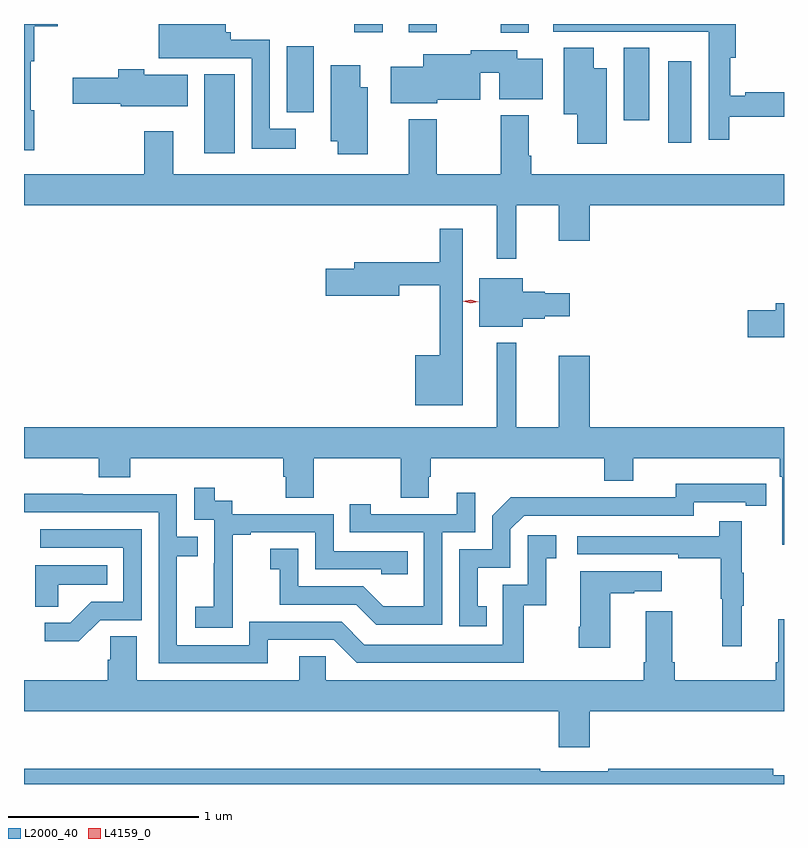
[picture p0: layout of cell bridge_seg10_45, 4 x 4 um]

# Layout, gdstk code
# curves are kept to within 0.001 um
import gdstk
lib = gdstk.Library(unit=1e-6, precision=1e-09)
def R(c, l, rs):  # rectangles x0, y0, x1, y1
    for r in rs: c.add(gdstk.rectangle(r[:2], r[2:], *l))
def P(c, l, *ps):  # polygons
    for p in ps: c.add(gdstk.Polygon(p, *l))
L2000_40 = (2000, 40)
L4159_0 = (4159, 0)

bridge_seg10_45 = lib.new_cell('bridge_seg10_45')
R(bridge_seg10_45, L2000_40, [(882.422,1291.266,882.583,1291.681), (884.864,1291.32,884.986,1291.75), (884.63,1291.44,884.764,1291.82), (882.857,1291.481,883,1291.828), (883.984,1291.899,884.131,1291.946), (883.211,1291.902,883.363,1291.946), (883.499,1291.902,883.647,1291.946)])
P(bridge_seg10_45, L2000_40, [(882.904,1291.396),(882.768,1291.396),(882.768,1291.863),(882.562,1291.863),(882.562,1291.902),(882.535,1291.902),(882.535,1291.946),(882.182,1291.946),(882.182,1291.766),(882.426,1291.766),(882.426,1291.767),(882.672,1291.767),(882.672,1291.289),(882.904,1291.289)],
  [(885.187,1291.458),(885.474,1291.458),(885.474,1291.586),(885.271,1291.586),(885.271,1291.568),(885.19,1291.568),(885.19,1291.769),(885.221,1291.769),(885.221,1291.946),(884.259,1291.946),(884.259,1291.905),(884.868,1291.905),(884.868,1291.904),(885.078,1291.904),(885.078,1291.338),(885.187,1291.338)],
  [(881.527,1291.493),(881.509,1291.493),(881.509,1291.75),(881.527,1291.75),(881.527,1291.934),(881.652,1291.934),(881.652,1291.946),(881.474,1291.946),(881.474,1291.281),(881.527,1291.281)],
  [(884.542,1291.714),(884.473,1291.714),(884.473,1291.82),(884.315,1291.82),(884.315,1291.472),(884.387,1291.472),(884.387,1291.317),(884.542,1291.317)],
  [(883.65,1291.547),(883.876,1291.547),(883.876,1291.69),(883.976,1291.69),(883.976,1291.55),(884.203,1291.55),(884.203,1291.762),(884.07,1291.762),(884.07,1291.808),(883.824,1291.808),(883.824,1291.788),(883.574,1291.788),(883.574,1291.72),(883.403,1291.72),(883.403,1291.529),(883.65,1291.529)],
  [(883.282,1291.612),(883.243,1291.612),(883.243,1291.729),(883.088,1291.729),(883.088,1291.328),(883.124,1291.328),(883.124,1291.26),(883.282,1291.26)],
  [(882.337,1291.678),(882.108,1291.678),(882.108,1291.708),(881.971,1291.708),(881.971,1291.662),(881.73,1291.662),(881.73,1291.525),(881.982,1291.525),(881.982,1291.514),(882.337,1291.514)],
  [(884.065,1290.992),(884.288,1290.992),(884.288,1290.804),(884.452,1290.804),(884.452,1290.992),(885.474,1290.992),(885.474,1291.156),(884.144,1291.156),(884.144,1291.252),(884.131,1291.252),(884.131,1291.465),(883.984,1291.465),(883.984,1291.156),(883.647,1291.156),(883.647,1291.444),(883.499,1291.444),(883.499,1291.156),(882.259,1291.156),(882.259,1291.381),(882.107,1291.381),(882.107,1291.156),(881.474,1291.156),(881.474,1290.992),(883.961,1290.992),(883.961,1290.711),(884.065,1290.711)],
  [(883.783,1290.868),(883.662,1290.868),(883.662,1290.691),(883.211,1290.691),(883.211,1290.657),(883.062,1290.657),(883.062,1290.515),(883.45,1290.515),(883.45,1290.57),(883.662,1290.57),(883.662,1290.202),(883.532,1290.202),(883.532,1289.939),(883.783,1289.939)],
  [(884.098,1290.395),(884.214,1290.395),(884.214,1290.407),(884.347,1290.407),(884.347,1290.529),(884.214,1290.529),(884.214,1290.537),(884.098,1290.537),(884.098,1290.607),(883.871,1290.607),(883.871,1290.353),(884.098,1290.353)],
  [(885.474,1290.476),(885.431,1290.476),(885.431,1290.44),(885.282,1290.44),(885.282,1290.298),(885.474,1290.298)],
  [(885.474,1289.824),(884.452,1289.824),(884.452,1290.199),(884.288,1290.199),(884.288,1289.824),(884.065,1289.824),(884.065,1290.268),(883.961,1290.268),(883.961,1289.824),(881.474,1289.824),(881.474,1289.66),(881.867,1289.66),(881.867,1289.561),(882.032,1289.561),(882.032,1289.66),(882.839,1289.66),(882.839,1289.562),(882.851,1289.562),(882.851,1289.452),(882.999,1289.452),(882.999,1289.66),(883.456,1289.66),(883.456,1289.452),(883.603,1289.452),(883.603,1289.562),(883.616,1289.562),(883.616,1289.66),(884.528,1289.66),(884.528,1289.543),(884.68,1289.543),(884.68,1289.66),(885.452,1289.66),(885.452,1289.564),(885.465,1289.564),(885.465,1289.205),(885.474,1289.205)],
  [(883.91,1288.881),(883.861,1288.881),(883.861,1289.085),(884.034,1289.085),(884.034,1289.286),(884.106,1289.358),(885,1289.358),(885,1289.43),(885.272,1289.43),(885.272,1289.41),(885.38,1289.41),(885.38,1289.526),(884.904,1289.527),(884.904,1289.454),(884.444,1289.454),(884.444,1289.456),(884.036,1289.456),(883.938,1289.358),(883.938,1289.181),(883.764,1289.181),(883.764,1288.776),(883.91,1288.776)],
  [(882.573,1288.975),(882.572,1288.975),(882.572,1289.259),(882.667,1289.259),(882.667,1289.271),(883.008,1289.271),(883.008,1289.076),(883.353,1289.076),(883.353,1289.049),(883.493,1289.049),(883.493,1289.172),(883.104,1289.172),(883.104,1289.367),(882.57,1289.367),(882.57,1289.436),(882.478,1289.436),(882.478,1289.506),(882.369,1289.506),(882.369,1289.337),(882.474,1289.337),(882.474,1289.108),(882.473,1289.108),(882.473,1288.879),(882.375,1288.879),(882.375,1288.769),(882.573,1288.769)],
  [(883.674,1289.271),(883.848,1289.271),(883.848,1289.479),(883.751,1289.479),(883.751,1289.367),(883.3,1289.367),(883.3,1289.419),(883.189,1289.419),(883.189,1289.271),(883.578,1289.271),(883.578,1288.882),(883.364,1288.882),(883.26,1288.986),(882.918,1288.986),(882.918,1289.185),(882.771,1289.185),(882.771,1289.075),(882.82,1289.075),(882.82,1288.89),(883.223,1288.89),(883.328,1288.785),(883.674,1288.785)],
  [(882.757,1288.704),(883.104,1288.704),(883.224,1288.584),(884.104,1288.584),(884.104,1288.887),(884.222,1288.887),(884.222,1289.133),(884.275,1289.133),(884.275,1289.254),(884.124,1289.254),(884.124,1288.995),(883.995,1288.995),(883.995,1288.68),(883.266,1288.68),(883.146,1288.8),(882.66,1288.8),(882.66,1288.677),(882.279,1288.677),(882.279,1289.146),(882.389,1289.146),(882.389,1289.247),(882.279,1289.247),(882.279,1289.472),(881.783,1289.472),(881.783,1289.474),(881.474,1289.474),(881.474,1289.376),(882.183,1289.376),(882.183,1288.581),(882.757,1288.581)],
  [(885.251,1288.883),(885.262,1288.883),(885.262,1289.057),(885.251,1289.057),(885.251,1289.329),(885.133,1289.329),(885.133,1289.25),(884.385,1289.25),(884.385,1289.154),(884.917,1289.154),(884.917,1289.134),(885.141,1289.134),(885.141,1288.92),(885.148,1288.92),(885.148,1288.671),(885.251,1288.671)],
  [(881.874,1288.809),(882.093,1288.809),(882.093,1289.286),(881.559,1289.286),(881.559,1289.19),(881.997,1289.19),(881.997,1288.905),(881.828,1288.905),(881.717,1288.794),(881.583,1288.794),(881.583,1288.697),(881.761,1288.697)],
  [(881.655,1288.994),(881.912,1288.994),(881.912,1289.098),(881.534,1289.098),(881.534,1288.879),(881.655,1288.879)],
  [(884.56,1288.951),(884.687,1288.951),(884.687,1288.961),(884.83,1288.961),(884.83,1289.065),(884.402,1289.065),(884.402,1288.774),(884.395,1288.774),(884.395,1288.662),(884.56,1288.662)],
  [(884.452,1288.328),(885.474,1288.328),(885.474,1288.813),(885.443,1288.813),(885.443,1288.588),(885.431,1288.588),(885.431,1288.492),(884.9,1288.492),(884.9,1288.588),(884.887,1288.588),(884.887,1288.855),(884.747,1288.855),(884.747,1288.588),(884.735,1288.588),(884.735,1288.492),(883.062,1288.492),(883.062,1288.619),(882.923,1288.619),(882.923,1288.492),(882.067,1288.492),(882.067,1288.724),(881.928,1288.724),(881.928,1288.601),(881.915,1288.601),(881.915,1288.492),(881.474,1288.492),(881.474,1288.328),(884.288,1288.328),(884.288,1288.14),(884.452,1288.14)],
  [(885.474,1287.993),(885.418,1287.993),(885.418,1288.027),(884.548,1288.027),(884.548,1288.014),(884.192,1288.014),(884.192,1288.027),(881.474,1288.027),(881.474,1287.946),(885.474,1287.946)])
P(bridge_seg10_45, L4159_0, [(883.824,1290.476),(883.783,1290.486),(883.783,1290.486),(883.783,1290.486),(883.824,1290.496),(883.865,1290.485),(883.865,1290.485),(883.865,1290.485)])

lib.write_gds('bridge_seg10_45.gds')
